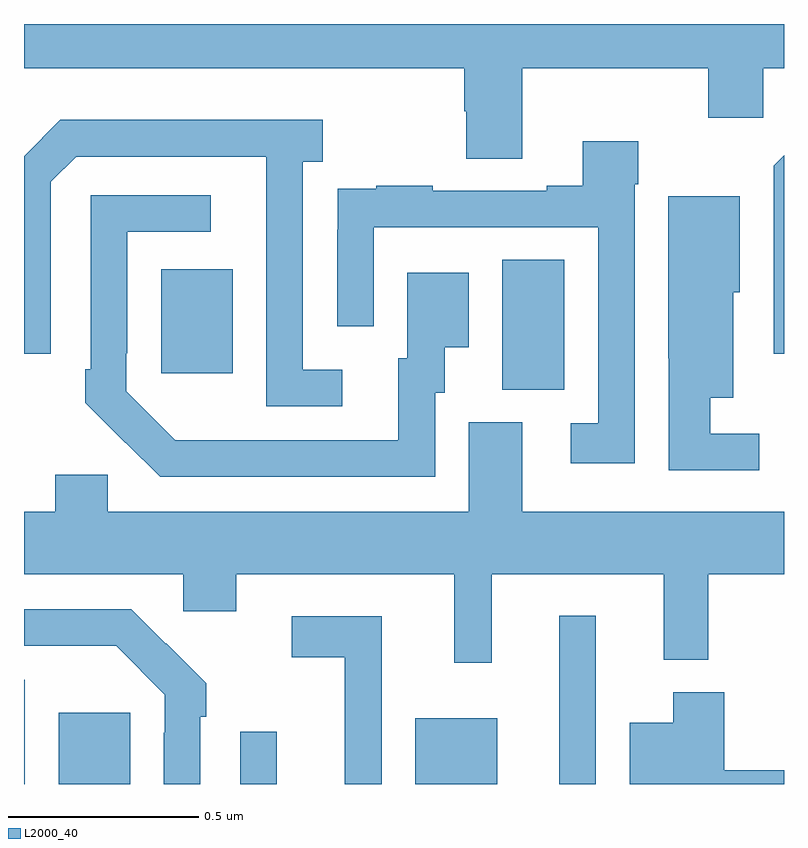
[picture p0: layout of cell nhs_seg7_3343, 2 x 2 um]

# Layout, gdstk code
import gdstk
lib = gdstk.Library(unit=1e-6, precision=1e-09)
def R(c, l, rs):  # rectangles x0, y0, x1, y1
    for r in rs: c.add(gdstk.rectangle(r[:2], r[2:], *l))
def P(c, l, *ps):  # polygons
    for p in ps: c.add(gdstk.Polygon(p, *l))
L2000_40 = (2000, 40)

nhs_seg7_3343 = lib.new_cell('nhs_seg7_3343')
R(nhs_seg7_3343, L2000_40, [(157,1064,157.002,1064.274), (157.091,1064,157.279,1064.188), (157.569,1064,157.665,1064.137), (158.03,1064,158.245,1064.173), (158.408,1064,158.505,1064.443), (158.258,1065.037,158.422,1065.38), (157.361,1065.081,157.549,1065.355)])
P(nhs_seg7_3343, L2000_40, [(158.311,1065.884),(158.8,1065.884),(158.8,1065.753),(158.946,1065.753),(158.946,1065.884),(159,1065.884),(159,1066),(157,1066),(157,1065.884),(158.159,1065.884),(158.159,1065.771),(158.164,1065.771),(158.164,1065.646),(158.311,1065.646)],
  [(157.837,1065.09),(157.734,1065.09),(157.734,1065.638),(157.786,1065.638),(157.786,1065.748),(157.096,1065.748),(157,1065.652),(157,1065.132),(157.071,1065.132),(157.071,1065.585),(157.137,1065.651),(157.637,1065.651),(157.637,1065.451),(157.638,1065.451),(157.638,1064.994),(157.837,1064.994)],
  [(158.607,1065.578),(158.616,1065.578),(158.616,1065.691),(158.471,1065.691),(158.471,1065.574),(158.375,1065.574),(158.375,1065.561),(158.075,1065.561),(158.075,1065.574),(157.927,1065.574),(157.927,1065.567),(157.825,1065.567),(157.825,1065.458),(157.824,1065.458),(157.824,1065.204),(157.92,1065.204),(157.92,1065.465),(158.511,1065.465),(158.511,1064.949),(158.439,1064.949),(158.439,1064.844),(158.607,1064.844)],
  [(159,1065.654),(158.973,1065.627),(158.973,1065.132),(159,1065.132)],
  [(158.082,1065.03),(158.107,1065.03),(158.107,1065.149),(158.17,1065.149),(158.17,1065.346),(158.009,1065.346),(158.009,1065.12),(157.985,1065.12),(157.985,1064.904),(157.501,1064.904),(157.501,1064.905),(157.398,1064.905),(157.269,1065.033),(157.269,1065.133),(157.272,1065.133),(157.272,1065.453),(157.492,1065.453),(157.492,1065.549),(157.176,1065.549),(157.176,1065.091),(157.161,1065.091),(157.161,1065.003),(157.266,1064.898),(157.267,1064.899),(157.358,1064.808),(158.082,1064.808)],
  [(158.935,1064.922),(158.806,1064.922),(158.806,1065.017),(158.866,1065.017),(158.866,1065.294),(158.884,1065.294),(158.884,1065.547),(158.696,1065.547),(158.696,1065.121),(158.697,1065.121),(158.697,1064.826),(158.935,1064.826)],
  [(158.231,1064.552),(158.684,1064.552),(158.684,1064.327),(158.801,1064.327),(158.801,1064.552),(159,1064.552),(159,1064.716),(158.311,1064.716),(158.311,1064.952),(158.171,1064.952),(158.171,1064.716),(157.221,1064.716),(157.221,1064.814),(157.082,1064.814),(157.082,1064.716),(157,1064.716),(157,1064.552),(157.419,1064.552),(157.419,1064.454),(157.558,1064.454),(157.558,1064.552),(158.132,1064.552),(158.132,1064.319),(158.231,1064.319)],
  [(157.464,1064.177),(157.479,1064.177),(157.479,1064.265),(157.374,1064.37),(157.373,1064.369),(157.282,1064.46),(157,1064.46),(157,1064.364),(157.243,1064.364),(157.371,1064.235),(157.371,1064.135),(157.368,1064.135),(157.368,1064),(157.464,1064)],
  [(157.941,1064.442),(157.704,1064.442),(157.704,1064.334),(157.844,1064.334),(157.844,1064),(157.941,1064)],
  [(159,1064.036),(158.843,1064.036),(158.843,1064.242),(158.708,1064.242),(158.708,1064.161),(158.594,1064.161),(158.594,1064),(159,1064)])

lib.write_gds('nhs_seg7_3343.gds')
